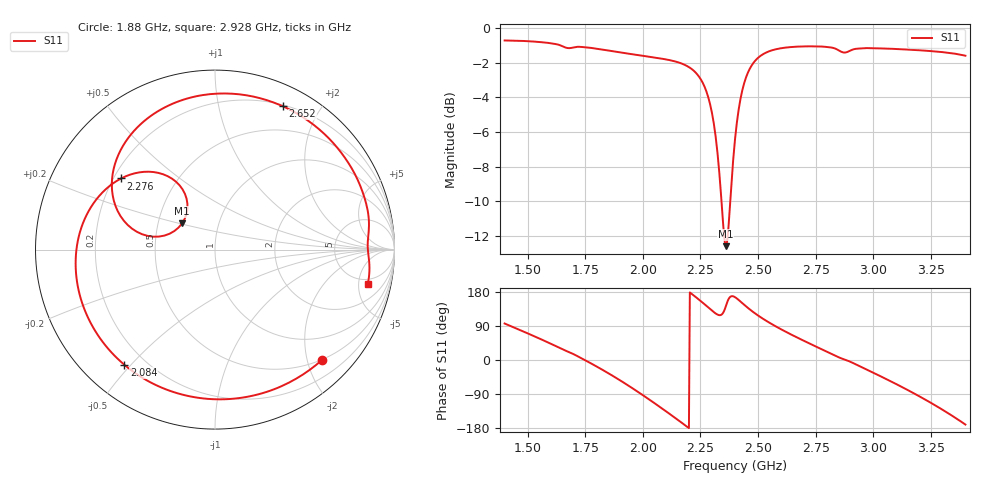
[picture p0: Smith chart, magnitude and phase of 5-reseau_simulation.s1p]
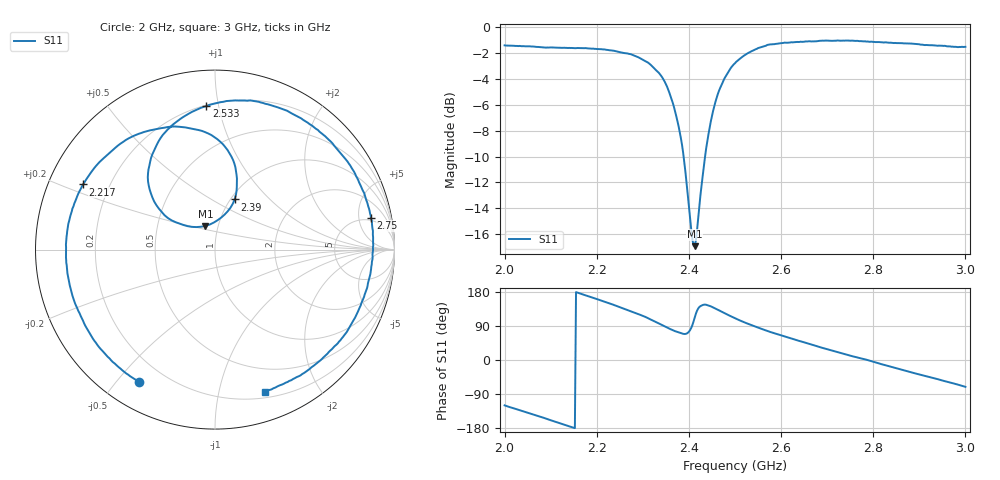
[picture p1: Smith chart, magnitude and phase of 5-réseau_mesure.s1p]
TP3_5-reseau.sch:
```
<Qucs Schematic 0.0.19>
<Properties>
  <View=0,0,1383,800,1,0,0>
  <Grid=10,10,1>
  <DataSet=TP3_5-reseau.dat>
  <DataDisplay=TP3_5-reseau.dpl>
  <OpenDisplay=1>
  <Script=TP3_5-reseau.m>
  <RunScript=0>
  <showFrame=0>
  <FrameText0=Titre>
  <FrameText1=Auteur :>
  <FrameText2=Date :>
  <FrameText3=Version :>
</Properties>
<Symbol>
</Symbol>
<Components>
  <GND * 1 1180 410 0 0 0 0>
  <GND * 1 1110 410 0 0 0 0>
  <Pac P1 1 1110 380 -94 -26 1 1 "2" 1 "50 Ohm" 1 "0 dBm" 0 "1 GHz" 0 "26.85" 0>
  <.SP SP1 1 170 260 0 77 0 0 "lin" 1 "2 GHz" 1 "3 GHz" 1 "400" 1 "no" 0 "1" 0 "2" 0 "no" 0 "no" 0>
  <Eqn Eqn1 1 410 300 -31 19 0 0 "S11_Simulation=S[1,1]" 1 "S11_Mesure=S[2,2]" 1 "dB_S11_Simulation=dB(S11_Simulation)" 1 "dB_S11_Mesure=dB(S11_Mesure)" 1 "yes" 0>
  <GND * 1 900 410 0 0 0 0>
  <GND * 1 830 410 0 0 0 0>
  <Pac P2 1 830 380 -94 -26 1 1 "1" 1 "50 Ohm" 1 "0 dBm" 0 "1 GHz" 0 "26.85" 0>
  <SPfile X1 1 900 350 -26 -67 0 0 "5-reseau_simulation.s1p" 1 "rectangular" 0 "linear" 0 "open" 0 "1" 0>
  <SPfile X2 1 1180 350 -26 -67 0 0 "5-réseau_mesure.s1p" 1 "rectangular" 0 "linear" 0 "open" 0 "1" 0>
</Components>
<Wires>
  <1180 380 1180 410 "" 0 0 0 "">
  <1110 350 1150 350 "" 0 0 0 "">
  <900 380 900 410 "" 0 0 0 "">
  <830 350 870 350 "" 0 0 0 "">
</Wires>
<Diagrams>
</Diagrams>
<Paintings>
</Paintings>
```
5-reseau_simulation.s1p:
#  Hz  S  RI  R  50
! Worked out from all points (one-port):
!   501 points, 1.4 GHz to 3.4 GHz, reference 50 ohm
!   lowest |S11| = -12.6 dB at 2.36 GHz (marker M1), VSWR 1.61, Z = 33.2 + j10.3 ohm
!   |S11| at or under -10 dB: 2.341 GHz to 2.379 GHz (37.98 MHz wide, 1.61 % of centre)
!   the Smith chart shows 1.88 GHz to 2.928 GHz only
!   S11 on the Smith chart (normalised r, x): 1.88 GHz: 0.50, -2.28; 2.084 GHz: 0.12, -0.48; 2.276 GHz: 0.23, +0.32; 2.652 GHz: 0.21, +1.56; 2.928 GHz: 4.13, -6.56
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1.4e9  -0.1013 0.9167
1.656e9  0.7884 0.4008
1.88e9  0.5974 -0.6135
2.068e9  -0.4265 -0.7001
2.084e9  -0.5052 -0.6414
2.188e9  -0.7765 -0.0774
2.276e9  -0.523 0.3964
2.36e9  -0.1835 0.1458
2.452e9  -0.5575 0.4766
2.652e9  0.3776 0.7988
2.736e9  0.6806 0.5684
2.928e9  0.852 -0.1892
3.184e9  -0.00649 -0.8653
3.4e9  -0.8214 -0.1396
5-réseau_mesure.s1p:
! ZVRE, 3.52
! symbol freq-unit parameter-type data-format keyword impedance-ohm
#  HZ  S  RI  R  50
! freq  reS11  imS11
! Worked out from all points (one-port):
!   401 points, 2 GHz to 3 GHz, reference 50 ohm
!   lowest |S11| = -16.9 dB at 2.413 GHz (marker M1), VSWR 1.33, Z = 43.5 + j11.7 ohm
!   |S11| at or under -10 dB: 2.388 GHz to 2.435 GHz (46.57 MHz wide, 1.93 % of centre)
!   S11 on the Smith chart (normalised r, x): 2 GHz: 0.11, -0.58; 2.217 GHz: 0.10, +0.23; 2.39 GHz: 1.04, +0.64; 2.533 GHz: 0.21, +0.92; 2.75 GHz: 4.40, +7.28; 3 GHz: 0.26, -1.38
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2e9  -0.4214 -0.7392
2.1125e9  -0.802 -0.2275
2.2175e9  -0.7357 0.3629
2.28e9  -0.4534 0.6336
2.335e9  -0.0728 0.6613
2.39e9  0.1095 0.2797
2.4125e9  -0.0536 0.1318
2.4625e9  -0.3745 0.4029
2.5325e9  -0.0482 0.8006
2.5925e9  0.3233 0.8008
2.6675e9  0.6727 0.5689
2.75e9  0.8686 0.1772
2.86e9  0.7863 -0.3667
3e9  0.2758 -0.7933
